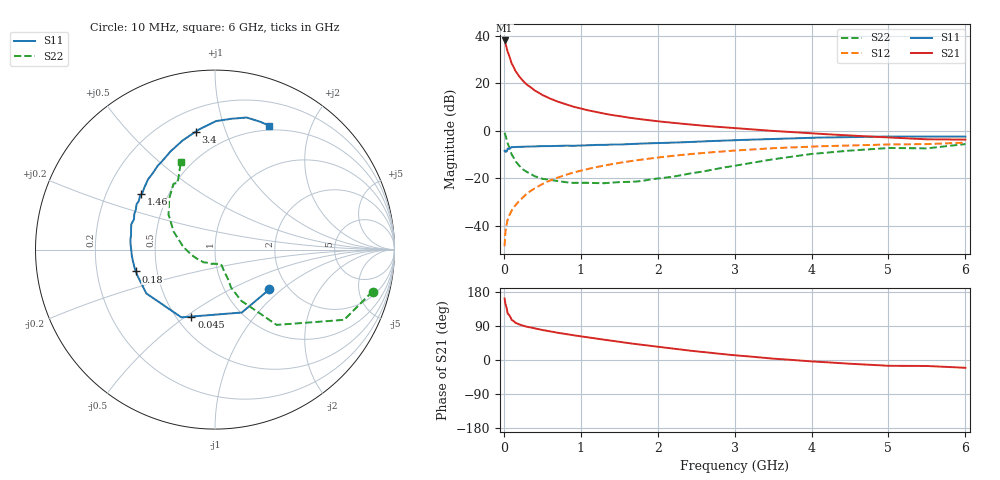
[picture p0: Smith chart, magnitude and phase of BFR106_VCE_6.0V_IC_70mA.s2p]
! Infineon Technologies  Discrete & RF Semiconductors
! BFR106
! VCE =  6.0 V,  IC =  70 mA
! Common Emitter S-Parameters:  Nov 2015
# GHz  S  MA  R  50
!  f  S11  S21  S12  S22
! GHz  MAG  ANG  MAG  ANG  MAG  ANG  MAG  ANG
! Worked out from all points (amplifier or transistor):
!   210 points, 10 MHz to 6 GHz, reference 50 ohm
!   highest |S21| = 38.1 dB at 10 MHz (marker M1)
!   |S21| within 3 dB of that: start of sweep to 35.6 MHz
!   unconditionally stable (mu >= 1): 219.1 MHz to 2.355 GHz
!   at 185 MHz: K = 0.96, MSG = 26.9 dB, |S12| = -30.1 dB
!   at 1.52 GHz: K = 1.05, MAG = 8.3 dB, |S12| = -13.4 dB
!   at 6 GHz: K = 0.99, MSG = 0.6 dB, |S12| = -5.0 dB
!   S11 on the Smith chart (normalised r, x): 10 MHz: 1.60, -0.83; 45 MHz: 0.59, -0.53; 180 MHz: 0.38, -0.12; 1.46 GHz: 0.35, +0.30; 3.4 GHz: 0.34, +0.79; 6 GHz: 0.45, +1.43
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0.01  0.3751 -36.3  80.06 162.3  0.0037 78.4  0.9086 -14.9
0.02  0.381 -66.9  71.1 148.2  0.0074 69.0  0.8192 -28.5
0.045  0.3954 -109.4  49.31 128.7  0.0124 62.4  0.5804 -45.6
0.05  0.4215 -116.4  46.01 122.8  0.0134 61.7  0.542 -50.7
0.1  0.4537 -147.4  26.63 106.3  0.0205 63.0  0.3211 -62.8
0.15  0.4555 -160.7  18.29 98.2  0.0268 66.8  0.2298 -67.1
0.18  0.4572 -164.6  15.68 95.9  0.0306 68.7  0.2018 -66.6
0.2  0.4595 -167.1  13.95 93.8  0.0332 69.7  0.1832 -66.2
0.26  0.4624 -172.8  10.82 89.7  0.0412 70.7  0.1482 -67.0
0.3  0.4644 -175.4  9.369 87.7  0.0472 71.8  0.1354 -67.3
0.4  0.4694 178.3  7.094 83.4  0.0611 73.0  0.1105 -66.9
0.5  0.4744 174.0  5.687 79.2  0.075 73.1  0.0973 -66.4
0.6  0.4749 170.0  4.779 75.5  0.0896 72.3  0.0925 -68.3
0.8  0.4873 163.1  3.624 68.7  0.1169 70.2  0.0825 -74.3
1.02  0.4915 155.7  2.883 61.8  0.1471 67.8  0.0805 -81.6
1.46  0.5129 143.0  2.088 49.3  0.2052 61.7  0.082 -104.6
2.02  0.5505 128.7  1.573 34.3  0.2751 53.6  0.0995 -139.6
3.1  0.6411 104.7  1.105 10.9  0.3917 37.3  0.1948 168.8
3.4  0.6662 99.2  1.019 5.6  0.4197 32.8  0.236 159.1
4.1  0.7191 88.1  0.864 -4.8  0.4706 22.5  0.3352 140.4
5.1  0.7559 75.3  0.713 -15.4  0.5165 9.8  0.4321 121.6
6  0.7539 66.3  0.651 -20.6  0.5629 0.1  0.5237 111.3
